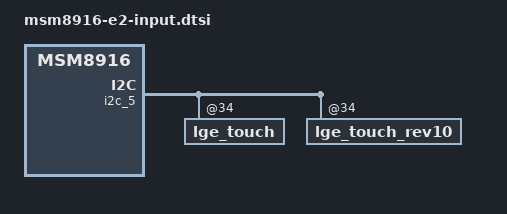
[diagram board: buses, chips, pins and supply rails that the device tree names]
/* Copyright (c) 2012, Code Aurora Forum. All rights reserved.
 *
 * This program is free software; you can redistribute it and/or modify
 * it under the terms of the GNU General Public License version 2 and
 * only version 2 as published by the Free Software Foundation.
 *
 * This program is distributed in the hope that it will be useful,
 * but WITHOUT ANY WARRANTY; without even the implied warranty of
 * MERCHANTABILITY or FITNESS FOR A PARTICULAR PURPOSE.  See the
 * GNU General Public License for more details.
 */

&i2c_5 {

	lge_touch@34 {
		status = "ok";
		revision = "rev_a...rev_c";
	};

	lge_touch_rev10@34 {
		status = "ok";
		revision = "rev_10...";
	};
};
